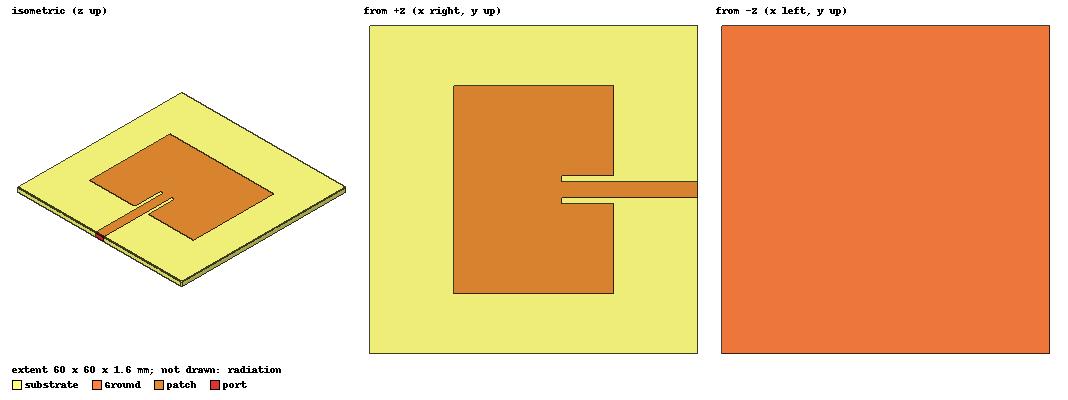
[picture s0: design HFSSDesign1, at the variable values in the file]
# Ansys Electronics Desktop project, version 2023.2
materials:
  vacuum: permittivity=1
  FR4_epoxy: permittivity=4.4 dielectric_loss_tangent=0.02
  air: permittivity=1.0006 permeability=1.0000004

design HFSSDesign1 (HFSS, HFSS Terminal Network, model units mm)
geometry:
  Ground = rectangle(corner=(-30mm, -30mm, 0mm), x_size=60mm, y_size=60mm)
  substrate [FR4_epoxy] = box(corner=(-30mm, -30mm, 0mm), size=(60mm, 60mm, 1.6mm))
  patch = rectangle(corner=((-29.4/2) mm, (-38/2) mm, 1.6mm), x_size=29.4mm, y_size=38mm)
  feed = rectangle(corner=(0mm, -1.5mm, 1.6mm), x_size=30mm, y_size=3mm)
  cut = rectangle(corner=(14.7mm, -2.5mm, 1.6mm), x_size=-9.5mm, y_size=5mm)
  patch.subtract(cut)
  patch.unite(feed)
  port = rectangle(corner=(30mm, -1.5mm, 1.6mm), y_size=3mm, z_size=-1.6mm)
  radiation [air] = box(corner=(-40mm, -40mm, -20mm), size=(80mm, 80mm, 40mm))
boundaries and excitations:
  PerfE1: Perfect E Objects=[Ground, patch]
  Rad1: Radiation Objects=radiation
  1: Lumped Port Objects=port LumpedPortType=Modal Modes{Mode1{IntLine{(30, 0, 0) -> (30, 0, 1.6)} CharImp=Zpi}} Impedance=50ohm
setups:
  Setup1: HfssDriven Frequency=2.4GHz MaxDeltaS=0.02 MaximumPasses=20 MinimumPasses=1 MinimumConvergedPasses=1 PercentRefinement=30 BasisOrder=1 PortAccuracy=2 DrivenSolverType="Direct Solver"
    sweep Sweep: 1GHz to 3GHz step 0.01GHz; Type=Fast SaveFields
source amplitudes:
  1:1: 1V 0deg
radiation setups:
  Infinite Sphere1: Infinite Sphere Theta=0deg..360deg step 10deg Phi=0deg..0deg step 0deg
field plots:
  Vector_E1: E Field over patch.face(at (7.65, 0, 1.6)) on Setup1 : LastAdaptive at Freq=2.4GHz Phase=0deg
  Vector_H1: H Field over patch.face(at (7.65, 0, 1.6)) on Setup1 : LastAdaptive at Freq=2.4GHz Phase=0deg
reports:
  S Parameter Plot 1: dB(S(1,1)) vs Freq on Setup1 : Sweep; markers m1 at 2.38GHz
  rE Plot 1: rETotal vs Theta on Setup1 : LastAdaptive, Infinite Sphere1 [Phi=all Freq=2.4GHz]
  rE Plot 2: rETotal vs Theta on Setup1 : LastAdaptive, Infinite Sphere1 [Phi=all Freq=2.4GHz]
